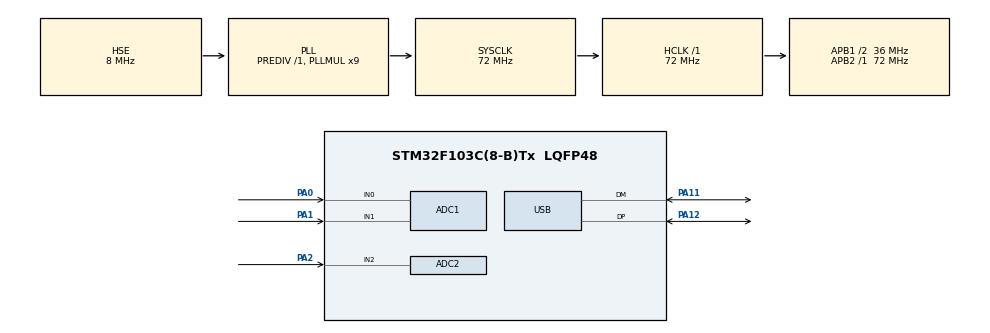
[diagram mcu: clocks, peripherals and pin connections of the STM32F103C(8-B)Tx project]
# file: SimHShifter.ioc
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ADC1.Channel-0\#ChannelRegularConversion=ADC_CHANNEL_0
ADC1.ContinuousConvMode=DISABLE
ADC1.NbrOfConversionFlag=1
ADC1.Rank-0\#ChannelRegularConversion=1
ADC1.SamplingTime-0\#ChannelRegularConversion=ADC_SAMPLETIME_1CYCLE_5
ADC1.master=1
ADC2.Channel-1\#ChannelRegularConversion=ADC_CHANNEL_2
ADC2.NbrOfConversionFlag=1
ADC2.Rank-1\#ChannelRegularConversion=1
ADC2.SamplingTime-1\#ChannelRegularConversion=ADC_SAMPLETIME_1CYCLE_5
Mcu.Family=STM32F1
Mcu.Name=STM32F103C(8-B)Tx
Mcu.Package=LQFP48
NVIC.PriorityGroup=NVIC_PRIORITYGROUP_4
NVIC.USB_HP_CAN1_TX_IRQn=true\:0\:0\:false\:false\:true\:true\:true\:true
NVIC.USB_LP_CAN1_RX0_IRQn=true\:0\:0\:false\:false\:true\:true\:true\:true
PA0-WKUP.Signal=SharedAnalog_PA0
PA1.Signal=SharedAnalog_PA1
PA11.Mode=Device
PA11.Signal=USB_DM
PA12.Mode=Device
PA12.Signal=USB_DP
PA13.Mode=Serial_Wire
PA13.Signal=SYS_JTMS-SWDIO
PA14.Mode=Serial_Wire
PA14.Signal=SYS_JTCK-SWCLK
PA2.Signal=SharedAnalog_PA2
PD0-OSC_IN.Mode=HSE-External-Oscillator
PD0-OSC_IN.Signal=RCC_OSC_IN
PD1-OSC_OUT.Mode=HSE-External-Oscillator
PD1-OSC_OUT.Signal=RCC_OSC_OUT
ProjectManager.HeapSize=0x200
ProjectManager.StackSize=0x400
ProjectManager.TargetToolchain=STM32CubeIDE
RCC.ADCPresc=RCC_ADCPCLK2_DIV6
RCC.AHBFreq_Value=72000000
RCC.APB1CLKDivider=RCC_HCLK_DIV2
RCC.APB1Freq_Value=36000000
RCC.APB1TimFreq_Value=72000000
RCC.APB2Freq_Value=72000000
RCC.APB2TimFreq_Value=72000000
RCC.HCLKFreq_Value=72000000
RCC.PLLMUL=RCC_PLL_MUL9
RCC.SYSCLKFreq_VALUE=72000000
RCC.SYSCLKSource=RCC_SYSCLKSOURCE_PLLCLK
RCC.USBFreq_Value=48000000
RCC.USBPrescaler=RCC_USBCLKSOURCE_PLL_DIV1_5
SH.SharedAnalog_PA0.0=GPIO_Analog
SH.SharedAnalog_PA0.1=ADC1_IN0,IN0
SH.SharedAnalog_PA1.0=GPIO_Analog
SH.SharedAnalog_PA1.1=ADC1_IN1,IN1
SH.SharedAnalog_PA2.0=GPIO_Analog
SH.SharedAnalog_PA2.1=ADC2_IN2,IN2
VP_CRC_VS_CRC.Mode=CRC_Activate
board=custom

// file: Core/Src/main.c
/* USER CODE BEGIN Header */
/**
  ******************************************************************************
  * @file           : main.c
  * @brief          : Main program body
  ******************************************************************************
  * @attention
  *
  * Copyright (c) 2025 STMicroelectronics.
  * All rights reserved.
  *
  * This software is licensed under terms that can be found in the LICENSE file
  * in the root directory of this software component.
  * If no LICENSE file comes with this software, it is provided AS-IS.
  *
  ******************************************************************************
  */
/* USER CODE END Header */
#include "main.h"

/* USER CODE BEGIN Includes */

#include "tusb.h"
#include "usb_descriptors.h"

/* USER CODE END Includes */

/* USER CODE BEGIN PD */

#define ARRAY_SIZE(x) (sizeof(x) / sizeof(x[0]))

/* USER CODE END PD */

ADC_HandleTypeDef hadc1;
ADC_HandleTypeDef hadc2;

CRC_HandleTypeDef hcrc;

PCD_HandleTypeDef hpcd_USB_FS;

/* USER CODE BEGIN PV */

/*
 * Da sem usposobil TinyUSB:
 * - dodal git submodule za tinyusb
 * - izklopil USB_DEVICE Middleware od ST
 * - pustil vklopljen Connectivity USB
 * - v Connectivity USB v NVIC settings sem vklopil oba HP in LP callbacka
 * 	 in potem v stm32f1xx_it.c v oboje dal tusb_int_handler(BOARD_TUD_RHPORT, true); return;
 * - v mainu klicem tusb_init in potem brez karksnih koli HAL_Delay v loopu klicem tud_task
 * - tud_hid_report ne smes klicat ce ni tud_hid_ready()
 * - prekopiral tusb_config.h, usb_descriptors.h in usb_descriptors.c iz tinyusb/examples/device/hid_composite
 * - v tusb_config.h nastavil CFG_TUSB_MCU, CFG_TUSB_OS, CFG_TUSB_RHPORT0_MODE
 * - v tusb_descriptors.h pobrisal tiste report id ki jih ne rabim
 * - v tusb_descriptors.c sem nastavil ime naprave in si postavil svoj report descriptor
 * - iz tinyusb/hw/bsp/stm32f1/family.c sem nekam skopiral board_get_unique_id
 * - definirat je treba se tud_hid_get_report_cb in tud_hid_set_report_cb
 * - mogoce se kaj ampak mislim da je to to (glavni problem je bil da manjka dokumentacije, chatgpt je bil precej uporaben)
 *
 * https://github.com/hathach/tinyusb/discussions/633
 * https://docs.tinyusb.org/en/latest/reference/getting_started.html
 * https://ejaaskel.dev/making-usb-device-with-stm32-tinyusb/
 *
 * kako sem CDC naredil hkrati kot HID pa najdi v gitu commit pa se vse vidi
 */

typedef struct __attribute__ ((packed)) {
	uint8_t buttons;
	uint16_t axis_x;
} hshifter_report_t;

typedef struct {
	uint16_t x, y;
} gear_position_t;

typedef struct {
	gear_position_t gear_positions[6];
	gear_position_t reverse_position;
	gear_position_t neutral_position;
	uint16_t axis_x_min;
	uint16_t axis_x_max;
} hshifter_config_t;

hshifter_config_t hshifter_config = {0};

uint32_t analog_x = 0;
uint32_t analog_y = 0;
uint32_t current_axis_x = 0;
uint16_t mapped_axis_x = 0;

/* USER CODE END PV */

void SystemClock_Config(void);
static void MX_GPIO_Init(void);
static void MX_ADC1_Init(void);
static void MX_USB_PCD_Init(void);
static void MX_CRC_Init(void);
static void MX_ADC2_Init(void);
/* USER CODE BEGIN PFP */

bool FlashWriteConfig(const hshifter_config_t* config);
bool FlashReadConfig(hshifter_config_t* out_config);

/* USER CODE END PFP */

/* USER CODE BEGIN 0 */

// input_channel mora biti ADC_CHANNEL_X
uint32_t AnalogRead(ADC_HandleTypeDef* hadc, uint32_t input_channel, uint32_t samples)
{
	// da smo prijazni
	assert(input_channel >= ADC_CHANNEL_0 && input_channel <= ADC_CHANNEL_15);
	assert(samples < UINT32_MAX / (1<<12)); // da ne bo "sum" overflowal

	ADC_ChannelConfTypeDef adc_channel_conf = {
		.Channel = input_channel,
		.Rank = ADC_REGULAR_RANK_1,
		.SamplingTime = ADC_SAMPLETIME_7CYCLES_5,
	};

	HAL_ADC_ConfigChannel(hadc, &adc_channel_conf);

	uint32_t sum = 0;
	for (uint32_t i = 0; i < samples; i++)
	{
		HAL_ADC_Start(hadc);
		HAL_ADC_PollForConversion(hadc, 1);
		sum += HAL_ADC_GetValue(hadc);
	}

	return sum / samples;
}

// Invoked when the host requests data (e.g. GET_REPORT)
uint16_t tud_hid_get_report_cb(uint8_t instance,
                               uint8_t report_id,
                               hid_report_type_t report_type,
                               uint8_t* buffer,
                               uint16_t reqlen) {
    // Return length of data copied to buffer
    return 0;
}

// Invoked when the host sends data (e.g. SET_REPORT)
void tud_hid_set_report_cb(uint8_t instance,
                           uint8_t report_id,
                           hid_report_type_t report_type,
                           uint8_t const* buffer,
                           uint16_t bufsize) {
    // Handle received data
}

void HandleCommand(const char* cmd)
{
	if (strcmp(cmd, "get pos") == 0)
	{
		char buf[64];
		snprintf(buf, sizeof(buf), "%lu %lu\n", analog_x, analog_y);
		tud_cdc_write_str(buf);
	}
	else if (strncmp(cmd, "get ", 4) == 0 && cmd[4] >= '1' && cmd[4] <= '6' && cmd[5] == '\0')
	{
		int gear = cmd[4] - '1';
		char buf[64];
		snprintf(buf, sizeof(buf), "%u %u\n", hshifter_config.gear_positions[gear].x,
				hshifter_config.gear_positions[gear].y);
		tud_cdc_write_str(buf);
	}
	else if (strcmp(cmd, "get R") == 0)
	{
		char buf[64];
		snprintf(buf, sizeof(buf), "%u %u\n", hshifter_config.reverse_position.x,
				hshifter_config.reverse_position.y);
		tud_cdc_write_str(buf);
	}
	else if (strcmp(cmd, "get N") == 0)
	{
		char buf[64];
		snprintf(buf, sizeof(buf), "%u %u\n", hshifter_config.neutral_position.x,
			hshifter_config.neutral_position.y);
		tud_cdc_write_str(buf);
	}
	else if (strcmp(cmd, "get HB") == 0)
	{
		char buf[64];
		snprintf(buf, sizeof(buf), "%lu %u\n", current_axis_x, mapped_axis_x);
		tud_cdc_write_str(buf);
	}
	else if (strncmp(cmd, "set HB ", 7) == 0)
	{
		int read = sscanf(cmd + 7, "%hu %hu", &hshifter_config.axis_x_min, &hshifter_config.axis_x_max);
		if (read == 2)
			tud_cdc_write_str("ok\n");
		else
		{
			char buf[64];
			snprintf(buf, sizeof(buf), "invalid input '%s'\n", cmd);
			tud_cdc_write_str(buf);
		}
	}
	else if (strncmp(cmd, "set ", 4) == 0 && cmd[4] >= '1' && cmd[4] <= '6' && cmd[5] == '\0')
	{
		int gear = cmd[4] - '1';
		hshifter_config.gear_positions[gear].x = analog_x;
		hshifter_config.gear_positions[gear].y = analog_y;
		tud_cdc_write_str("ok\n");
	}
	else if (strcmp(cmd, "set R") == 0)
	{
		hshifter_config.reverse_position.x = analog_x;
		hshifter_config.reverse_position.y = analog_y;
		tud_cdc_write_str("ok\n");
	}
	else if (strcmp(cmd, "set N") == 0)
	{
		hshifter_config.neutral_position.x = analog_x;
		hshifter_config.neutral_position.y = analog_y;
		tud_cdc_write_str("ok\n");
	}
	else if (strcmp(cmd, "flash write") == 0)
	{
		bool success = FlashWriteConfig(&hshifter_config);
		if (success)
			tud_cdc_write_str("ok\n");
		else
			tud_cdc_write_str("unknown error\n");
	}
	else if (strcmp(cmd, "flash read") == 0)
	{
		bool success = FlashReadConfig(&hshifter_config);
		if (success)
			tud_cdc_write_str("ok\n");
		else
			tud_cdc_write_str("unknown error\n");
	}
	else if (strcmp(cmd, "test") == 0)
	{
		tud_cdc_write_str("ok\n");
	}
	else
	{
		char buf[64];
		snprintf(buf, sizeof(buf), "invalid input '%s'\n", cmd);
		tud_cdc_write_str(buf);
	}
}

void HandleCDCInput()
{
	static char cdc_read_buf[64] = {0};
	static uint32_t cdc_read_buf_index = 0;

	char received = tud_cdc_read_char();

	if ((received == '\r' || received == '\n') || cdc_read_buf_index >= sizeof(cdc_read_buf) - 1)
	{
		cdc_read_buf[cdc_read_buf_index] = '\0';
		cdc_read_buf_index = 0;
		tud_cdc_write_char('\n');
		HandleCommand(cdc_read_buf);
		tud_cdc_write_flush();
	}
	else if (received >= 32 && received < 127)
	{
		cdc_read_buf[cdc_read_buf_index] = received;
		cdc_read_buf_index++;
		tud_cdc_write_char(received);
		tud_cdc_write_flush();
	}
	else if ((received == '\b' || received == 127) && cdc_read_buf_index > 0)
	{
		cdc_read_buf_index--;
		tud_cdc_write_str("\b \b");
		tud_cdc_write_flush();
	}
}

#define CONFIG_FLASH_PAGE_ADDR   (FLASH_BANK1_END - FLASH_PAGE_SIZE + 1) // last 1 KB page

bool FlashWriteConfig(const hshifter_config_t* config)
{
	HAL_FLASH_Unlock();

	FLASH_EraseInitTypeDef erase_def = {
		.TypeErase = FLASH_TYPEERASE_PAGES,
		.PageAddress = CONFIG_FLASH_PAGE_ADDR,
		.NbPages = 1
	};
	uint32_t page_error = 0;
	HAL_StatusTypeDef status = HAL_FLASHEx_Erase(&erase_def, &page_error);
	if (status != HAL_OK || page_error != 0xFFFFFFFF)
	{
		HAL_FLASH_Lock();
		return false; // failed
	}

	uint32_t addr = CONFIG_FLASH_PAGE_ADDR;
	for (uint32_t i = 0; i < sizeof(hshifter_config_t) / 4; i++)
	{
		HAL_FLASH_Program(FLASH_TYPEPROGRAM_WORD, addr, ((uint32_t*)config)[i]);
		addr += 4;
	}

	_Static_assert(sizeof(hshifter_config_t) % 4 == 0, "Velikost configa mora biti veckratnik 4");

	uint32_t crc = HAL_CRC_Calculate(&hcrc, (uint32_t*)config, sizeof(hshifter_config_t) / 4);
	HAL_FLASH_Program(FLASH_TYPEPROGRAM_WORD, addr, crc);

	HAL_FLASH_Lock();
	return true;
}

bool FlashReadConfig(hshifter_config_t* out_config)
{
	hshifter_config_t config = {0};
	memcpy(&config, (void*)CONFIG_FLASH_PAGE_ADDR, sizeof(hshifter_config_t));

	uint32_t crc = HAL_CRC_Calculate(&hcrc, (uint32_t*)&config, sizeof(hshifter_config_t) / 4);
	uint32_t crc_stored = *(uint32_t*)(CONFIG_FLASH_PAGE_ADDR + sizeof(hshifter_config_t));

	if (crc == crc_stored)
	{
		*out_config = config;
		return true;
	}
	return false;
}

/* USER CODE END 0 */

int main(void)
{

  /* MCU Configuration--------------------------------------------------------*/

  /* Reset of all peripherals, Initializes the Flash interface and the Systick. */
  HAL_Init();

  /* Configure the system clock */
  SystemClock_Config();

  /* Initialize all configured peripherals */
  MX_GPIO_Init();
  MX_ADC1_Init();
  MX_USB_PCD_Init();
  MX_CRC_Init();
  MX_ADC2_Init();
  /* USER CODE BEGIN 2 */

  HAL_ADCEx_Calibration_Start(&hadc1);
  HAL_ADCEx_Calibration_Start(&hadc2);

  FlashReadConfig(&hshifter_config);

  tusb_rhport_init_t dev_init = {
   .role = TUSB_ROLE_DEVICE,
   .speed = TUSB_SPEED_AUTO
  };
  tusb_init(0, &dev_init);

  uint8_t current_gear = 0;
  uint8_t gear_prev_states[16] = {0};
  uint8_t gear_prev_states_index = 0;

  bool handbrake_active = false;

  /* USER CODE END 2 */

  /* Infinite loop */
  while (1)
  {

    /* USER CODE BEGIN 3 */
	analog_x = AnalogRead(&hadc1, ADC_CHANNEL_1, 16);
	analog_y = AnalogRead(&hadc1, ADC_CHANNEL_0, 16);

	/*
			R   |  1  |   3  |  5
			    |     |      |
			    |  2  |   4  |  6
			    |     |      |
			boundry_1 |   boundry_3
			      boundry_2
	 */
	uint32_t boundry_1 = (hshifter_config.reverse_position.x * 2
		+ hshifter_config.gear_positions[0].x
		+ hshifter_config.gear_positions[1].x) / 4;
	uint32_t boundry_2 = (hshifter_config.gear_positions[0].x
		+ hshifter_config.gear_positions[1].x
		+ hshifter_config.gear_positions[2].x
		+ hshifter_config.gear_positions[3].x) / 4;
	uint32_t boundry_3 = (hshifter_config.gear_positions[2].x
		+ hshifter_config.gear_positions[3].x
		+ hshifter_config.gear_positions[4].x
		+ hshifter_config.gear_positions[5].x) / 4;

	uint8_t button = 0;

	if (analog_x < boundry_1)
	{
		if (analog_y > (hshifter_config.reverse_position.y + hshifter_config.neutral_position.y) / 2)
			button = 7;
	}
	else if (analog_x < boundry_2)
	{
		if (analog_y > (hshifter_config.gear_positions[0].y + hshifter_config.neutral_position.y) / 2)
			button = 1;
		else if (analog_y < (hshifter_config.gear_positions[1].y + hshifter_config.neutral_position.y) / 2)
			button = 2;
	}
	else if (analog_x < boundry_3)
	{
		if (analog_y > (hshifter_config.gear_positions[2].y + hshifter_config.neutral_position.y) / 2)
			button = 3;
		else if (analog_y < (hshifter_config.gear_positions[3].y + hshifter_config.neutral_position.y) / 2)
			button = 4;
	}
	else
	{
		if (analog_y > (hshifter_config.gear_positions[4].y + hshifter_config.neutral_position.y) / 2)
			button = 5;
		else if (analog_y < (hshifter_config.gear_positions[5].y + hshifter_config.neutral_position.y) / 2)
			button = 6;
	}

	// shrani nekaj stanj za nazaj in potem poslji output samo
	// ce so vsa ta nedavna stanja enaka
	gear_prev_states[gear_prev_states_index] = button;
	gear_prev_states_index = (gear_prev_states_index + 1) % ARRAY_SIZE(gear_prev_states);

	bool output_stable = true;
	for (int i = 0; i < ARRAY_SIZE(gear_prev_states); i++)
	{
		if (gear_prev_states[i] != button)
		{
			output_stable = false;
			break;
		}
	}

	uint32_t axis_raw = AnalogRead(&hadc2, ADC_CHANNEL_2, 16);
	// Exponential moving average implementiran z integer arithmetic
	const static uint32_t filter_level = 6;
	static uint32_t estimate = 0;
	// (estimate >> filter_level) je dejanski average, vsakic odstejemo avg in dodamo trenutno stanje
	estimate = estimate - (estimate >> filter_level) + axis_raw;
	current_axis_x = estimate >> filter_level;

	if (tud_hid_ready())
	{
		if (output_stable)
			current_gear = button;

		if (current_axis_x <= hshifter_config.axis_x_min)
			mapped_axis_x = 0;
		else if (current_axis_x >= hshifter_config.axis_x_max)
			mapped_axis_x = 4095;
		else
			mapped_axis_x = ((current_axis_x - hshifter_config.axis_x_min) * 4095) / (hshifter_config.axis_x_max - hshifter_config.axis_x_min);

		if (mapped_axis_x == 0)
			handbrake_active = true; // ne posiljam handbrake signala dokler vsaj enkrat ne pade nivo na 0 (ce handbrake ni prikljucen vhod plava)
		if (handbrake_active == false)
			mapped_axis_x = 0;

		hshifter_report_t hshifter_report;
		hshifter_report.buttons = 1 << current_gear;
		if (current_gear == 0)
			hshifter_report.buttons = 0;
		hshifter_report.axis_x = mapped_axis_x;

		// TODO: tako kot za button box bi preverjal ce je treba sploh updatat report ali je nujno poslat novega + force ce je tud_mount_cb ali tud_resume_cb
		// baje da imam predolg loop in zato prevec casa med klici na tud_task (These tasks must be called regularly (typically less than 1ms intervals))
		// mogoce tudi kaksna konfiguracija narobe ker STM32F103 does full speed not high speed

		tud_hid_report(REPORT_ID_HSHIFTER, (const void*)&hshifter_report, sizeof(hshifter_report_t));
	}

	if (tud_cdc_connected() && tud_cdc_available())
	{
		HandleCDCInput();
	}

	tud_task();
  }
  /* USER CODE END 3 */
}

void SystemClock_Config(void)
{
  RCC_OscInitTypeDef RCC_OscInitStruct = {0};
  RCC_ClkInitTypeDef RCC_ClkInitStruct = {0};
  RCC_PeriphCLKInitTypeDef PeriphClkInit = {0};

  /** Initializes the RCC Oscillators according to the specified parameters
  * in the RCC_OscInitTypeDef structure.
  */
  RCC_OscInitStruct.OscillatorType = RCC_OSCILLATORTYPE_HSE;
  RCC_OscInitStruct.HSEState = RCC_HSE_ON;
  RCC_OscInitStruct.HSEPredivValue = RCC_HSE_PREDIV_DIV1;
  RCC_OscInitStruct.HSIState = RCC_HSI_ON;
  RCC_OscInitStruct.PLL.PLLState = RCC_PLL_ON;
  RCC_OscInitStruct.PLL.PLLSource = RCC_PLLSOURCE_HSE;
  RCC_OscInitStruct.PLL.PLLMUL = RCC_PLL_MUL9;
  if (HAL_RCC_OscConfig(&RCC_OscInitStruct) != HAL_OK)
  {
    Error_Handler();
  }

  /** Initializes the CPU, AHB and APB buses clocks
  */
  RCC_ClkInitStruct.ClockType = RCC_CLOCKTYPE_HCLK|RCC_CLOCKTYPE_SYSCLK
                              |RCC_CLOCKTYPE_PCLK1|RCC_CLOCKTYPE_PCLK2;
  RCC_ClkInitStruct.SYSCLKSource = RCC_SYSCLKSOURCE_PLLCLK;
  RCC_ClkInitStruct.AHBCLKDivider = RCC_SYSCLK_DIV1;
  RCC_ClkInitStruct.APB1CLKDivider = RCC_HCLK_DIV2;
  RCC_ClkInitStruct.APB2CLKDivider = RCC_HCLK_DIV1;

  if (HAL_RCC_ClockConfig(&RCC_ClkInitStruct, FLASH_LATENCY_2) != HAL_OK)
  {
    Error_Handler();
  }
  PeriphClkInit.PeriphClockSelection = RCC_PERIPHCLK_ADC|RCC_PERIPHCLK_USB;
  PeriphClkInit.AdcClockSelection = RCC_ADCPCLK2_DIV6;
  PeriphClkInit.UsbClockSelection = RCC_USBCLKSOURCE_PLL_DIV1_5;
  if (HAL_RCCEx_PeriphCLKConfig(&PeriphClkInit) != HAL_OK)
  {
    Error_Handler();
  }
}

static void MX_ADC1_Init(void)
{

  ADC_ChannelConfTypeDef sConfig = {0};

  /** Common config
  */
  hadc1.Instance = ADC1;
  hadc1.Init.ScanConvMode = ADC_SCAN_DISABLE;
  hadc1.Init.ContinuousConvMode = DISABLE;
  hadc1.Init.DiscontinuousConvMode = DISABLE;
  hadc1.Init.ExternalTrigConv = ADC_SOFTWARE_START;
  hadc1.Init.DataAlign = ADC_DATAALIGN_RIGHT;
  hadc1.Init.NbrOfConversion = 1;
  if (HAL_ADC_Init(&hadc1) != HAL_OK)
  {
    Error_Handler();
  }

  /** Configure Regular Channel
  */
  sConfig.Channel = ADC_CHANNEL_0;
  sConfig.Rank = ADC_REGULAR_RANK_1;
  sConfig.SamplingTime = ADC_SAMPLETIME_1CYCLE_5;
  if (HAL_ADC_ConfigChannel(&hadc1, &sConfig) != HAL_OK)
  {
    Error_Handler();
  }

}

static void MX_ADC2_Init(void)
{

  ADC_ChannelConfTypeDef sConfig = {0};

  /** Common config
  */
  hadc2.Instance = ADC2;
  hadc2.Init.ScanConvMode = ADC_SCAN_DISABLE;
  hadc2.Init.ContinuousConvMode = DISABLE;
  hadc2.Init.DiscontinuousConvMode = DISABLE;
  hadc2.Init.ExternalTrigConv = ADC_SOFTWARE_START;
  hadc2.Init.DataAlign = ADC_DATAALIGN_RIGHT;
  hadc2.Init.NbrOfConversion = 1;
  if (HAL_ADC_Init(&hadc2) != HAL_OK)
  {
    Error_Handler();
  }

  /** Configure Regular Channel
  */
  sConfig.Channel = ADC_CHANNEL_2;
  sConfig.Rank = ADC_REGULAR_RANK_1;
  sConfig.SamplingTime = ADC_SAMPLETIME_1CYCLE_5;
  if (HAL_ADC_ConfigChannel(&hadc2, &sConfig) != HAL_OK)
  {
    Error_Handler();
  }

}

static void MX_CRC_Init(void)
{

  hcrc.Instance = CRC;
  if (HAL_CRC_Init(&hcrc) != HAL_OK)
  {
    Error_Handler();
  }

}

static void MX_USB_PCD_Init(void)
{

  hpcd_USB_FS.Instance = USB;
  hpcd_USB_FS.Init.dev_endpoints = 8;
  hpcd_USB_FS.Init.speed = PCD_SPEED_FULL;
  hpcd_USB_FS.Init.low_power_enable = DISABLE;
  hpcd_USB_FS.Init.lpm_enable = DISABLE;
  hpcd_USB_FS.Init.battery_charging_enable = DISABLE;
  if (HAL_PCD_Init(&hpcd_USB_FS) != HAL_OK)
  {
    Error_Handler();
  }

}

static void MX_GPIO_Init(void)
{

  /* GPIO Ports Clock Enable */
  __HAL_RCC_GPIOD_CLK_ENABLE();
  __HAL_RCC_GPIOA_CLK_ENABLE();

}

void Error_Handler(void)
{
  __disable_irq();
  while (1)
  {
  }
}
